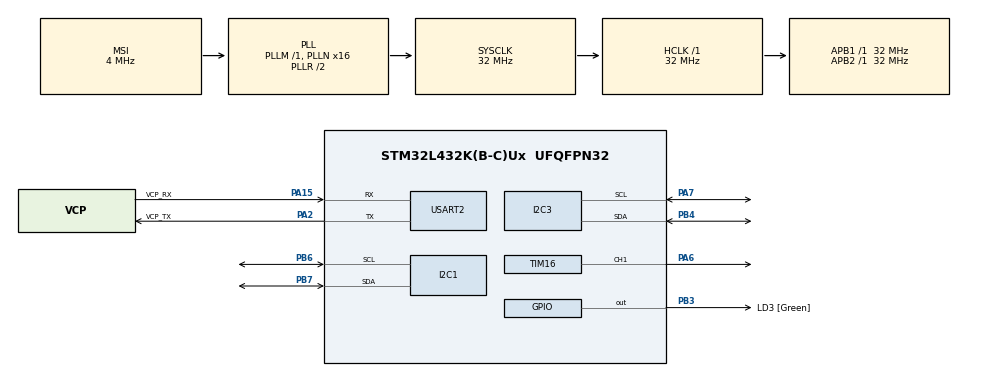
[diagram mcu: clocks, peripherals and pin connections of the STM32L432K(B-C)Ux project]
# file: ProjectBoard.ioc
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I2C1.OwnAddress=0x20
I2C1.Timing=0x00707CBB
I2C3.Timing=0x00707CBB
Mcu.Family=STM32L4
Mcu.Name=STM32L432K(B-C)Ux
Mcu.Package=UFQFPN32
NVIC.I2C1_ER_IRQn=true\:0\:0\:false\:false\:true\:true\:true\:true
NVIC.I2C1_EV_IRQn=true\:0\:0\:false\:false\:true\:true\:true\:true
NVIC.I2C3_ER_IRQn=true\:0\:0\:false\:false\:true\:true\:true\:true
NVIC.I2C3_EV_IRQn=true\:0\:0\:false\:false\:true\:true\:true\:true
NVIC.PriorityGroup=NVIC_PRIORITYGROUP_4
NVIC.TIM1_BRK_TIM15_IRQn=true\:0\:0\:false\:false\:true\:true\:true\:true
NVIC.TIM1_CC_IRQn=true\:0\:0\:false\:false\:true\:true\:true\:true
NVIC.TIM1_TRG_COM_IRQn=true\:0\:0\:false\:false\:true\:true\:true\:true
NVIC.TIM1_UP_TIM16_IRQn=true\:0\:0\:false\:false\:true\:true\:true\:true
PA0.GPIO_Label=MCO [High speed clock in]
PA0.Mode=HSE-External-Clock-Source-for-LittleOrca
PA0.Signal=RCC_CK_IN
PA13\ (JTMS-SWDIO).GPIO_Label=SWDIO
PA13\ (JTMS-SWDIO).Mode=Serial_Wire
PA13\ (JTMS-SWDIO).Signal=SYS_JTMS-SWDIO
PA14\ (JTCK-SWCLK).GPIO_Label=SWCLK
PA14\ (JTCK-SWCLK).Mode=Serial_Wire
PA14\ (JTCK-SWCLK).Signal=SYS_JTCK-SWCLK
PA15\ (JTDI).GPIO_Label=VCP_RX
PA15\ (JTDI).Mode=Asynchronous
PA15\ (JTDI).Signal=USART2_RX
PA2.GPIO_Label=VCP_TX
PA2.Mode=Asynchronous
PA2.Signal=USART2_TX
PA6.Signal=S_TIM16_CH1
PA7.GPIO_Pu=GPIO_PULLUP
PA7.Mode=I2C
PA7.Signal=I2C3_SCL
PB3\ (JTDO-TRACESWO).GPIO_Label=LD3 [Green]
PB3\ (JTDO-TRACESWO).Signal=GPIO_Output
PB4\ (NJTRST).GPIO_Pu=GPIO_PULLUP
PB4\ (NJTRST).Mode=I2C
PB4\ (NJTRST).Signal=I2C3_SDA
PB6.GPIO_Pu=GPIO_PULLUP
PB6.Mode=I2C
PB6.Signal=I2C1_SCL
PB7.GPIO_Pu=GPIO_PULLUP
PB7.Mode=I2C
PB7.Signal=I2C1_SDA
PC14-OSC32_IN\ (PC14).Mode=LSE-External-Oscillator
PC14-OSC32_IN\ (PC14).Signal=RCC_OSC32_IN
PC15-OSC32_OUT\ (PC15).Mode=LSE-External-Oscillator
PC15-OSC32_OUT\ (PC15).Signal=RCC_OSC32_OUT
ProjectManager.HeapSize=0x200
ProjectManager.StackSize=0x400
ProjectManager.TargetToolchain=STM32CubeIDE
RCC.AHBFreq_Value=32000000
RCC.APB1Freq_Value=32000000
RCC.APB1TimFreq_Value=32000000
RCC.APB2Freq_Value=32000000
RCC.APB2TimFreq_Value=32000000
RCC.CortexFreq_Value=32000000
RCC.HCLKFreq_Value=32000000
RCC.HSE_VALUE=8000000
RCC.HSI16_VALUE=16000000
RCC.HSI48_VALUE=48000000
RCC.HSI_VALUE=16000000
RCC.MSI_VALUE=4000000
RCC.PLLMUL=RCC_PLLMUL_4
RCC.PLLN=16
RCC.SYSCLKFreq_VALUE=32000000
RCC.SYSCLKSource=RCC_SYSCLKSOURCE_PLLCLK
RCC.VCOOutputFreq_Value=64000000
SH.S_TIM16_CH1.0=TIM16_CH1,Output Compare1 CH1
TIM1.Period=3000
TIM1.Prescaler=4800-1
TIM16.AutoReloadPreload=TIM_AUTORELOAD_PRELOAD_ENABLE
TIM16.Channel=TIM_CHANNEL_1
TIM16.OC1Preload=ENABLE
TIM16.OCMode_1=TIM_OCMODE_TOGGLE
TIM16.Prescaler=10-1
USART2.VirtualMode-Asynchronous=VM_ASYNC
VP_TIM16_VS_ClockSourceINT.Mode=Enable_Timer
VP_TIM1_VS_ClockSourceINT.Mode=Internal
board=NUCLEO-L432KC

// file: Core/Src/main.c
/* USER CODE BEGIN Header */
/**
 ******************************************************************************
 * @file           : main.c
 * @brief          : Main program body
 ******************************************************************************
 * @attention
 *
 * Copyright (c) 2024 STMicroelectronics.
 * All rights reserved.
 *
 * This software is licensed under terms that can be found in the LICENSE file
 * in the root directory of this software component.
 * If no LICENSE file comes with this software, it is provided AS-IS.
 *
 ******************************************************************************
 */
/* USER CODE END Header */
#include "main.h"

/* USER CODE BEGIN Includes */
#include <stdio.h>
#include <string.h>
/* USER CODE END Includes */

/* USER CODE BEGIN PD */
#define DEBOUNCE_DELAY_MS 20 // Adjust this value as needed
#define MAX_DUTY_CYCLE  100  // Maximum duty cycle percentage
#define MIN_DUTY_CYCLE  10   // Minimum duty cycle percentage
/* USER CODE END PD */

I2C_HandleTypeDef hi2c1;
I2C_HandleTypeDef hi2c3;

TIM_HandleTypeDef htim1;
TIM_HandleTypeDef htim16;

UART_HandleTypeDef huart2;

/* USER CODE BEGIN PV */
extern uint8_t I2C_REGISTERS[10];

/* USER CODE END PV */

void SystemClock_Config(void);
static void MX_GPIO_Init(void);
static void MX_USART2_UART_Init(void);
static void MX_I2C1_Init(void);
static void MX_I2C3_Init(void);
static void MX_TIM1_Init(void);
static void MX_TIM16_Init(void);

int main(void)
{
  /* USER CODE BEGIN 1 */
	//uint8_t buf[12] = {0};
	//HAL_StatusTypeDef ret;
	//double valu;
	//float temp_c;
  /* USER CODE END 1 */

  /* MCU Configuration--------------------------------------------------------*/

  /* Reset of all peripherals, Initializes the Flash interface and the Systick. */
  HAL_Init();

  /* Configure the system clock */
  SystemClock_Config();

  /* Initialize all configured peripherals */
  MX_GPIO_Init();
  MX_USART2_UART_Init();
  MX_I2C1_Init();
  MX_I2C3_Init();
  MX_TIM1_Init();
  MX_TIM16_Init();
  /* USER CODE BEGIN 2 */
  if (HAL_I2C_EnableListen_IT(&hi2c1) != HAL_OK){
	  HAL_UART_Transmit(&huart2, (uint8_t*)"I2C fail", 9, 100);
  	  Error_Handler();
  }

  uint8_t sensorAddressCO2 = 0x58;// Sensor address CO2
  uint8_t dataCO2[6]; // Data buffer to store sensor readings
  uint8_t commandCO2[] = {0x20, 0x08}; // Command for reading measurement data
  uint8_t alarmStatus = 0; // alarm status Co2
  uint8_t requestTemp = 20; // gewilde temperatuur
  uint8_t verwarmingStatus = 0; // Status verwarming
  uint16_t grenswaarde = 800; // Grenswaarde Co2 voor alarm
  uint8_t aan = 1;

  // Initiate de Co2 sensor (15-20sec calibratie)
  HAL_I2C_Master_Transmit(&hi2c3, 0x58 << 1, (uint8_t[]) {0x20, 0x03}, 2, HAL_MAX_DELAY); // om de SGP30 sensor te initialiseren
  for(int i = 0; i < 20; i++){
		HAL_I2C_Master_Transmit(&hi2c3, sensorAddressCO2 << 1, commandCO2, sizeof(commandCO2), HAL_MAX_DELAY);

		// Wait for measurement to complete
		HAL_Delay(20);

		// Read measurement data
		HAL_I2C_Master_Receive(&hi2c3, (sensorAddressCO2 << 1) | 0x01, dataCO2, sizeof(dataCO2), HAL_MAX_DELAY);
		HAL_Delay(1000);
  }
  // Ready to receive commands
  HAL_UART_Transmit(&huart2, (uint8_t*)"Done\n", 6, HAL_MAX_DELAY);
  /* USER CODE END 2 */

  /* Infinite loop */
  /* USER CODE BEGIN WHILE */
	while (1)
	{

		/*-------------- Set gewilde temperatuur --------------*/
		if (I2C_REGISTERS[1] == 201){
			requestTemp = I2C_REGISTERS[2];
			// Geeft bij server aan dat data in registers staat
			I2C_REGISTERS[0] = 1;
			// Delay om zeker te weten dat hij ontvangen is door server
			HAL_Delay(100);
			// Reset registers
			for(int i = 0; i < 10; i++){
				I2C_REGISTERS[i] = 0;
			}
		}
		/*-------------- Vraag temperatuur op --------------*/
		else if (I2C_REGISTERS[1] == 200){
			//HAL_UART_Transmit(&huart2, (uint8_t*)"I2C test", 9, 100);
			char buf[50];
			// Read data from SHT3x sensor
			uint8_t sensorAddress = 0x44; // Sensor address
			uint8_t data[6]; // Data buffer to store sensor readings

			// Request temperature measurement
			uint8_t command[] = {0x2C, 0x06};
			HAL_I2C_Master_Transmit(&hi2c3, sensorAddress << 1, command, sizeof(command), HAL_MAX_DELAY);

			// Wait for measurement to complete
			HAL_Delay(20);

			// Read measurement data
			HAL_I2C_Master_Receive(&hi2c3, (sensorAddress << 1) | 0x01, data, sizeof(data), HAL_MAX_DELAY);

			// Process data to get temperature and humidity
			int16_t tempRaw = (data[0] << 8) | data[1];
			float temperature = -45 + 175 * ((float)tempRaw / 65535);
			uint16_t humRaw = (data[3] << 8) | data[4];
			float humidity = 100 * ((float)humRaw / 65535);
			// if lager dan gewenste temperatuur; zet de verwarming aan.
			if (temperature >= (float)requestTemp){
				verwarmingStatus = 2;
			}
			else {verwarmingStatus = 1;}
			// Print data to Serial port (uart)
			sprintf(buf, "%.2lfC Luchtvochtigheid: %.1lf VerwarmingStatus: %d \r\n", temperature, humidity, verwarmingStatus);
			HAL_UART_Transmit(&huart2, (uint8_t*)buf, strlen(buf), 100);
			// Empty registers
			for(int i = 0; i < 10; i++){
				I2C_REGISTERS[i] = 0;
			}

			int intPart, decPart;
			// Neem het gehele deel van de float
			intPart = (int)temperature;

			// Neem het decimale deel van de float
			float decimal = temperature - (float)(intPart);
			// Converteer het decimale deel naar een percentage (bijv. 0.56 wordt 56)
			decPart = (int)(decimal * 100);
			// Plaats data in juiste register(s)
			I2C_REGISTERS[1] = (uint8_t) intPart;
			I2C_REGISTERS[2] = (uint8_t) decPart;
			I2C_REGISTERS[3] = (uint8_t)humidity;
			I2C_REGISTERS[4] = verwarmingStatus;

			I2C_REGISTERS[0] = 1; //Aangeven bij server dat alles is geschreven.
			// Delay om server de tijd te geven om data te lezen
			HAL_Delay(100);
			// Reset Registers
			for(int i = 0; i < 10; i++){
				I2C_REGISTERS[i] = 0;
			}
		}
		/*-------------- Lees Co2 uit --------------*/
		else if(I2C_REGISTERS[1] == 203){
			char buf2[50];
			HAL_I2C_Master_Transmit(&hi2c3, sensorAddressCO2 << 1, commandCO2, sizeof(commandCO2), HAL_MAX_DELAY);

			// Wait for measurement to complete
			HAL_Delay(20);

			// Read measurement data
			HAL_I2C_Master_Receive(&hi2c3, (sensorAddressCO2 << 1) | 0x01, dataCO2, sizeof(dataCO2), HAL_MAX_DELAY);

			// Process data to get CO2
			uint16_t CO2 = (dataCO2[0] << 8) | dataCO2[1];
			// if CO2 hoger is dan grenswaarde; zet het alarm aan.
			if(CO2>grenswaarde){
				alarmStatus = 1;
			}
			else {
				alarmStatus = 2;
			}

			// Process data to TVOC
			uint16_t TVOC = (dataCO2[3] << 8) | dataCO2[4];
			// Print to seriele monitor
			sprintf(buf2, " CO2: %d\r\n", CO2);
			HAL_UART_Transmit(&huart2, (uint8_t*)buf2, strlen(buf2), 100);
			// Reset Registers
			for(int i = 0; i < 10; i++){
				I2C_REGISTERS[i] = 0;
			}
			// Opsplitsen van de 16-bits CO2 waarde in twee 8-bits waarden
			uint8_t CO2_high = (uint8_t)(CO2 >> 8); // Hoger byte
			uint8_t CO2_low = (uint8_t)(CO2 & 0xFF); // Lager byte

			// Sla de gesplitste waarden op in de I2C registers
			I2C_REGISTERS[1] = CO2_high;
			I2C_REGISTERS[2] = CO2_low;
			I2C_REGISTERS[3] = alarmStatus;
			I2C_REGISTERS[0] = 1;

			// Geef server kans om data uit te lezen
			HAL_Delay(100);
			// Reset Registers
			for(int i = 0; i < 10; i++){
				I2C_REGISTERS[i] = 0;
			}
		}
		/*-------------- Set grenswaarde van Co2 --------------*/
		else if(I2C_REGISTERS[1] == 204){
			grenswaarde = (I2C_REGISTERS[2] << 8 | I2C_REGISTERS[3]);
			// Geef aan dat data in Register is geschreven
			I2C_REGISTERS[0] = 1;
			// Delay om server kans te geven om data te lezen
			HAL_Delay(100);
			// Reset Registers
			for(int i = 0; i < 10; i++){
				I2C_REGISTERS[i] = 0;
			}
		}
		/*-------------- Reset alarm --------------*/
		else if (I2C_REGISTERS[1] == 205){
			alarmStatus = 2;
		}
		else if (I2C_REGISTERS[1] == 206){
			alarmStatus = I2C_REGISTERS[2];
			I2C_REGISTERS[0] = 1;
			HAL_Delay(100);
			for(int i = 0; i < 10; i++){
				I2C_REGISTERS[i] = 0;
			}
		}

	  // zet de buzzer aan als de alarmStatus == 1
//	  if(alarmStatus == 1 && aan){
//		  aan = 0;
//		  buzzer_aan();
//	  }
//	  // om de buzzer te stoppen als alarmStatus != 1
//	  else  {
//		  aan =1;
//		  HAL_TIM_Base_Stop(&htim1); /**< Stop de timer */
//		  HAL_TIM_Base_Stop(&htim16); /**< Stop de timer */
//	  }

    /* USER CODE END WHILE */

	}
}

void SystemClock_Config(void)
{
  RCC_OscInitTypeDef RCC_OscInitStruct = {0};
  RCC_ClkInitTypeDef RCC_ClkInitStruct = {0};

  /** Configure the main internal regulator output voltage
  */
  if (HAL_PWREx_ControlVoltageScaling(PWR_REGULATOR_VOLTAGE_SCALE1) != HAL_OK)
  {
    Error_Handler();
  }

  /** Configure LSE Drive Capability
  */
  HAL_PWR_EnableBkUpAccess();
  __HAL_RCC_LSEDRIVE_CONFIG(RCC_LSEDRIVE_LOW);

  /** Initializes the RCC Oscillators according to the specified parameters
  * in the RCC_OscInitTypeDef structure.
  */
  RCC_OscInitStruct.OscillatorType = RCC_OSCILLATORTYPE_LSE|RCC_OSCILLATORTYPE_MSI;
  RCC_OscInitStruct.LSEState = RCC_LSE_ON;
  RCC_OscInitStruct.MSIState = RCC_MSI_ON;
  RCC_OscInitStruct.MSICalibrationValue = 0;
  RCC_OscInitStruct.MSIClockRange = RCC_MSIRANGE_6;
  RCC_OscInitStruct.PLL.PLLState = RCC_PLL_ON;
  RCC_OscInitStruct.PLL.PLLSource = RCC_PLLSOURCE_MSI;
  RCC_OscInitStruct.PLL.PLLM = 1;
  RCC_OscInitStruct.PLL.PLLN = 16;
  RCC_OscInitStruct.PLL.PLLP = RCC_PLLP_DIV7;
  RCC_OscInitStruct.PLL.PLLQ = RCC_PLLQ_DIV2;
  RCC_OscInitStruct.PLL.PLLR = RCC_PLLR_DIV2;
  if (HAL_RCC_OscConfig(&RCC_OscInitStruct) != HAL_OK)
  {
    Error_Handler();
  }

  /** Initializes the CPU, AHB and APB buses clocks
  */
  RCC_ClkInitStruct.ClockType = RCC_CLOCKTYPE_HCLK|RCC_CLOCKTYPE_SYSCLK
                              |RCC_CLOCKTYPE_PCLK1|RCC_CLOCKTYPE_PCLK2;
  RCC_ClkInitStruct.SYSCLKSource = RCC_SYSCLKSOURCE_PLLCLK;
  RCC_ClkInitStruct.AHBCLKDivider = RCC_SYSCLK_DIV1;
  RCC_ClkInitStruct.APB1CLKDivider = RCC_HCLK_DIV1;
  RCC_ClkInitStruct.APB2CLKDivider = RCC_HCLK_DIV1;

  if (HAL_RCC_ClockConfig(&RCC_ClkInitStruct, FLASH_LATENCY_1) != HAL_OK)
  {
    Error_Handler();
  }

  /** Enable MSI Auto calibration
  */
  HAL_RCCEx_EnableMSIPLLMode();
}

static void MX_I2C1_Init(void)
{

  hi2c1.Instance = I2C1;
  hi2c1.Init.Timing = 0x00707CBB;
  hi2c1.Init.OwnAddress1 = 64;
  hi2c1.Init.AddressingMode = I2C_ADDRESSINGMODE_7BIT;
  hi2c1.Init.DualAddressMode = I2C_DUALADDRESS_DISABLE;
  hi2c1.Init.OwnAddress2 = 0;
  hi2c1.Init.OwnAddress2Masks = I2C_OA2_NOMASK;
  hi2c1.Init.GeneralCallMode = I2C_GENERALCALL_DISABLE;
  hi2c1.Init.NoStretchMode = I2C_NOSTRETCH_DISABLE;
  if (HAL_I2C_Init(&hi2c1) != HAL_OK)
  {
    Error_Handler();
  }

  /** Configure Analogue filter
  */
  if (HAL_I2CEx_ConfigAnalogFilter(&hi2c1, I2C_ANALOGFILTER_ENABLE) != HAL_OK)
  {
    Error_Handler();
  }

  /** Configure Digital filter
  */
  if (HAL_I2CEx_ConfigDigitalFilter(&hi2c1, 0) != HAL_OK)
  {
    Error_Handler();
  }

}

static void MX_I2C3_Init(void)
{

  hi2c3.Instance = I2C3;
  hi2c3.Init.Timing = 0x00707CBB;
  hi2c3.Init.OwnAddress1 = 0;
  hi2c3.Init.AddressingMode = I2C_ADDRESSINGMODE_7BIT;
  hi2c3.Init.DualAddressMode = I2C_DUALADDRESS_DISABLE;
  hi2c3.Init.OwnAddress2 = 0;
  hi2c3.Init.OwnAddress2Masks = I2C_OA2_NOMASK;
  hi2c3.Init.GeneralCallMode = I2C_GENERALCALL_DISABLE;
  hi2c3.Init.NoStretchMode = I2C_NOSTRETCH_DISABLE;
  if (HAL_I2C_Init(&hi2c3) != HAL_OK)
  {
    Error_Handler();
  }

  /** Configure Analogue filter
  */
  if (HAL_I2CEx_ConfigAnalogFilter(&hi2c3, I2C_ANALOGFILTER_ENABLE) != HAL_OK)
  {
    Error_Handler();
  }

  /** Configure Digital filter
  */
  if (HAL_I2CEx_ConfigDigitalFilter(&hi2c3, 0) != HAL_OK)
  {
    Error_Handler();
  }

}

static void MX_TIM1_Init(void)
{

  TIM_ClockConfigTypeDef sClockSourceConfig = {0};
  TIM_MasterConfigTypeDef sMasterConfig = {0};

  htim1.Instance = TIM1;
  htim1.Init.Prescaler = 4800-1;
  htim1.Init.CounterMode = TIM_COUNTERMODE_UP;
  htim1.Init.Period = 3000;
  htim1.Init.ClockDivision = TIM_CLOCKDIVISION_DIV1;
  htim1.Init.RepetitionCounter = 0;
  htim1.Init.AutoReloadPreload = TIM_AUTORELOAD_PRELOAD_DISABLE;
  if (HAL_TIM_Base_Init(&htim1) != HAL_OK)
  {
    Error_Handler();
  }
  sClockSourceConfig.ClockSource = TIM_CLOCKSOURCE_INTERNAL;
  if (HAL_TIM_ConfigClockSource(&htim1, &sClockSourceConfig) != HAL_OK)
  {
    Error_Handler();
  }
  sMasterConfig.MasterOutputTrigger = TIM_TRGO_RESET;
  sMasterConfig.MasterOutputTrigger2 = TIM_TRGO2_RESET;
  sMasterConfig.MasterSlaveMode = TIM_MASTERSLAVEMODE_DISABLE;
  if (HAL_TIMEx_MasterConfigSynchronization(&htim1, &sMasterConfig) != HAL_OK)
  {
    Error_Handler();
  }

}

static void MX_TIM16_Init(void)
{

  TIM_OC_InitTypeDef sConfigOC = {0};
  TIM_BreakDeadTimeConfigTypeDef sBreakDeadTimeConfig = {0};

  htim16.Instance = TIM16;
  htim16.Init.Prescaler = 10-1;
  htim16.Init.CounterMode = TIM_COUNTERMODE_UP;
  htim16.Init.Period = 65535;
  htim16.Init.ClockDivision = TIM_CLOCKDIVISION_DIV1;
  htim16.Init.RepetitionCounter = 0;
  htim16.Init.AutoReloadPreload = TIM_AUTORELOAD_PRELOAD_ENABLE;
  if (HAL_TIM_Base_Init(&htim16) != HAL_OK)
  {
    Error_Handler();
  }
  if (HAL_TIM_OC_Init(&htim16) != HAL_OK)
  {
    Error_Handler();
  }
  sConfigOC.OCMode = TIM_OCMODE_TOGGLE;
  sConfigOC.Pulse = 0;
  sConfigOC.OCPolarity = TIM_OCPOLARITY_HIGH;
  sConfigOC.OCNPolarity = TIM_OCNPOLARITY_HIGH;
  sConfigOC.OCFastMode = TIM_OCFAST_DISABLE;
  sConfigOC.OCIdleState = TIM_OCIDLESTATE_RESET;
  sConfigOC.OCNIdleState = TIM_OCNIDLESTATE_RESET;
  if (HAL_TIM_OC_ConfigChannel(&htim16, &sConfigOC, TIM_CHANNEL_1) != HAL_OK)
  {
    Error_Handler();
  }
  __HAL_TIM_ENABLE_OCxPRELOAD(&htim16, TIM_CHANNEL_1);
  sBreakDeadTimeConfig.OffStateRunMode = TIM_OSSR_DISABLE;
  sBreakDeadTimeConfig.OffStateIDLEMode = TIM_OSSI_DISABLE;
  sBreakDeadTimeConfig.LockLevel = TIM_LOCKLEVEL_OFF;
  sBreakDeadTimeConfig.DeadTime = 0;
  sBreakDeadTimeConfig.BreakState = TIM_BREAK_DISABLE;
  sBreakDeadTimeConfig.BreakPolarity = TIM_BREAKPOLARITY_HIGH;
  sBreakDeadTimeConfig.AutomaticOutput = TIM_AUTOMATICOUTPUT_DISABLE;
  if (HAL_TIMEx_ConfigBreakDeadTime(&htim16, &sBreakDeadTimeConfig) != HAL_OK)
  {
    Error_Handler();
  }
  HAL_TIM_MspPostInit(&htim16);

}

static void MX_USART2_UART_Init(void)
{

  huart2.Instance = USART2;
  huart2.Init.BaudRate = 115200;
  huart2.Init.WordLength = UART_WORDLENGTH_8B;
  huart2.Init.StopBits = UART_STOPBITS_1;
  huart2.Init.Parity = UART_PARITY_NONE;
  huart2.Init.Mode = UART_MODE_TX_RX;
  huart2.Init.HwFlowCtl = UART_HWCONTROL_NONE;
  huart2.Init.OverSampling = UART_OVERSAMPLING_16;
  huart2.Init.OneBitSampling = UART_ONE_BIT_SAMPLE_DISABLE;
  huart2.AdvancedInit.AdvFeatureInit = UART_ADVFEATURE_NO_INIT;
  if (HAL_UART_Init(&huart2) != HAL_OK)
  {
    Error_Handler();
  }

}

static void MX_GPIO_Init(void)
{
  GPIO_InitTypeDef GPIO_InitStruct = {0};

  /* GPIO Ports Clock Enable */
  __HAL_RCC_GPIOC_CLK_ENABLE();
  __HAL_RCC_GPIOA_CLK_ENABLE();
  __HAL_RCC_GPIOB_CLK_ENABLE();

  /*Configure GPIO pin Output Level */
  HAL_GPIO_WritePin(LD3_GPIO_Port, LD3_Pin, GPIO_PIN_RESET);

  /*Configure GPIO pin : LD3_Pin */
  GPIO_InitStruct.Pin = LD3_Pin;
  GPIO_InitStruct.Mode = GPIO_MODE_OUTPUT_PP;
  GPIO_InitStruct.Pull = GPIO_NOPULL;
  GPIO_InitStruct.Speed = GPIO_SPEED_FREQ_LOW;
  HAL_GPIO_Init(LD3_GPIO_Port, &GPIO_InitStruct);

}

/* USER CODE BEGIN 4 */

/**
  ******************************************************************************
  * @brief      Zet de buzzer aan.
  *
  * @details    Deze functie zet de buzzer aan en start een timer van 250 ms om dan
  * 			om deze periode van 250 ms de frequentie te veranderen van de buzzer.
  *
  * @retval     int   Geeft aan of de sensor is uitgeschakeld (0).
  ******************************************************************************
  */
void buzzer_aan(){
	  HAL_TIM_Base_Start_IT(&htim1); // start timer1
	  HAL_TIM_PWM_Start(&htim16, TIM_CHANNEL_1); // start timer16 die de buzzer aanstuurt
	  uint32_t soft_pulse = (__HAL_TIM_GetAutoreload(&htim16) * 10) / 100; // om een zacht pulse te genereren
	  int freq = 3200000 / 3200;
	  __HAL_TIM_SET_AUTORELOAD(&htim16,freq - 1);
	  __HAL_TIM_SET_COMPARE(&htim16, TIM_CHANNEL_1, soft_pulse);

}
/**
  ******************************************************************************
  * @brief      Callback-functie voor periode-afgelopen gebeurtenissen van de timer.
  *
  * @details    Deze functie wordt aangeroepen wanneer de periode van de timer is verstreken.
  *             Het veranderd de frequentie en hardheid van de buzzer naar aanleiding van de status hiervan.
  *
  * @param[in]  htim   Handle van de timer waarvoor de gebeurtenis is opgetreden.
  ******************************************************************************
  */
void HAL_TIM_PeriodElapsedCallback(TIM_HandleTypeDef *htim)
{
    if (htim == &htim1){
    	//uint8_t tekst1[]={"interrupt1!\n\r"};
    	//HAL_UART_Transmit(&huart2, tekst1, sizeof tekst1, HAL_MAX_DELAY);
    	int freq = __HAL_TIM_GetAutoreload(&htim16);
    	uint32_t soft_pulse = (__HAL_TIM_GetAutoreload(&htim16) * 10) / 100; // 10% duty cycle for soft tone
    	uint32_t hard_pulse = (__HAL_TIM_GetAutoreload(&htim16) * 90) / 100; //100% duty cycle for hard tone

    	if (freq == (3200000 / 4000)-1){
    		uint8_t tekst2[]={"interrupt2!\n\r"};
    		HAL_UART_Transmit(&huart2, tekst2, sizeof tekst2, HAL_MAX_DELAY);
    		uint32_t freq1 = 3200000 / 3200;
    		__HAL_TIM_SET_AUTORELOAD(&htim16, (freq1 - 1));
    		__HAL_TIM_SET_COMPARE(&htim16, TIM_CHANNEL_1, hard_pulse);
    	}
    	else{
    		uint8_t tekst3[]={"interrupt3!\n\r"};
    		HAL_UART_Transmit(&huart2, tekst3, sizeof tekst3, HAL_MAX_DELAY);
    		uint32_t freq2 = 3200000 / 4000;
    		__HAL_TIM_SET_AUTORELOAD(&htim16, (freq2 - 1));
    		__HAL_TIM_SET_COMPARE(&htim16, TIM_CHANNEL_1, soft_pulse);
    	}
    	//__HAL_TIM_SET_COUNTER(&htim2, 0);
    	//HAL_TIM_Base_Start_IT(&htim1);
    }
}

/* USER CODE END 4 */

void Error_Handler(void)
{
	__disable_irq();
	while (1)
	{
	}
}
